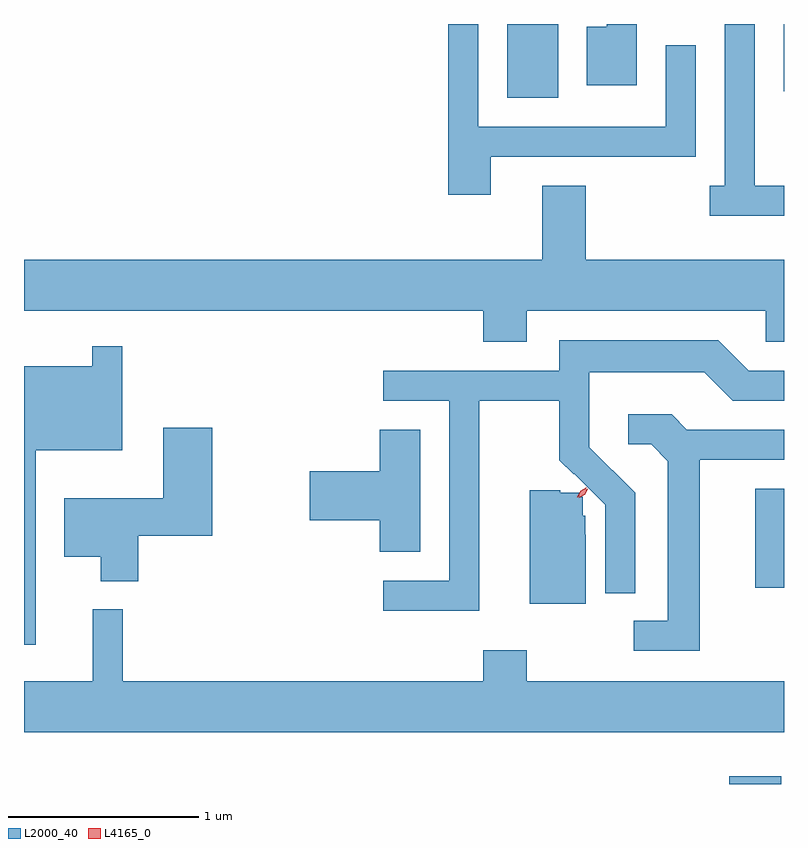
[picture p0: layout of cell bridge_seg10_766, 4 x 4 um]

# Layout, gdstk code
import gdstk
lib = gdstk.Library(unit=1e-6, precision=1e-09)
def R(c, l, rs):  # rectangles x0, y0, x1, y1
    for r in rs: c.add(gdstk.rectangle(r[:2], r[2:], *l))
def P(c, l, *ps):  # polygons
    for p in ps: c.add(gdstk.Polygon(p, *l))
L2000_40 = (2000, 40)
L4165_0 = (4165, 0)

bridge_seg10_766 = lib.new_cell('bridge_seg10_766')
R(bridge_seg10_766, L2000_40, [(606.746,2151.384,607.018,2151.424), (606.881,2152.416,607.033,2152.939), (605.576,2154.996,605.844,2155.384), (607.031,2155.031,607.033,2155.384)])
P(bridge_seg10_766, L2000_40, [(606.259,2155.384),(606.101,2155.384),(606.101,2155.369),(605.996,2155.369),(605.996,2155.061),(606.259,2155.061)],
  [(607.033,2154.534),(606.879,2154.534),(606.879,2155.384),(606.721,2155.384),(606.721,2154.534),(606.643,2154.534),(606.643,2154.376),(607.033,2154.376)],
  [(605.489,2154.686),(606.569,2154.686),(606.569,2155.273),(606.411,2155.273),(606.411,2154.844),(605.424,2154.844),(605.424,2155.384),(605.266,2155.384),(605.266,2154.486),(605.489,2154.486)],
  [(605.679,2153.876),(606.936,2153.876),(606.936,2153.711),(607.033,2153.711),(607.033,2154.144),(605.989,2154.144),(605.989,2154.534),(605.761,2154.534),(605.761,2154.144),(603.033,2154.144),(603.033,2153.876),(605.451,2153.876),(605.451,2153.711),(605.679,2153.711)],
  [(605.429,2153.401),(605.851,2153.401),(605.851,2153.089),(605.926,2153.014),(605.928,2153.016),(606.091,2152.853),(606.091,2152.388),(606.249,2152.388),(606.249,2152.917),(606.009,2153.157),(606.009,2153.551),(606.614,2153.551),(606.764,2153.401),(607.033,2153.401),(607.033,2153.559),(606.847,2153.559),(606.687,2153.719),(605.851,2153.719),(605.851,2153.559),(604.923,2153.559),(604.923,2153.401),(605.271,2153.401),(605.271,2152.454),(604.923,2152.454),(604.923,2152.296),(605.429,2152.296)],
  [(603.094,2153.141),(603.549,2153.141),(603.549,2153.688),(603.391,2153.688),(603.391,2153.584),(603.033,2153.584),(603.033,2152.118),(603.094,2152.118)],
  [(606.589,2153.091),(607.033,2153.091),(607.033,2153.249),(606.522,2153.249),(606.442,2153.329),(606.213,2153.329),(606.213,2153.171),(606.334,2153.171),(606.421,2153.084),(606.421,2152.244),(606.243,2152.244),(606.243,2152.086),(606.589,2152.086)],
  [(603.634,2152.691),(604.024,2152.691),(604.024,2153.259),(603.766,2153.259),(603.766,2152.889),(603.246,2152.889),(603.246,2152.581),(603.436,2152.581),(603.436,2152.451),(603.634,2152.451)],
  [(605.119,2153.249),(604.906,2153.249),(604.906,2153.029),(604.536,2153.029),(604.536,2152.771),(604.906,2152.771),(604.906,2152.606),(605.119,2152.606)],
  [(605.989,2152.697),(605.988,2152.697),(605.988,2152.797),(605.975,2152.797),(605.975,2152.897),(605.955,2152.897),(605.955,2152.918),(605.855,2152.918),(605.855,2152.931),(605.696,2152.931),(605.696,2152.333),(605.989,2152.333)],
  [(607.033,2151.924),(605.679,2151.924),(605.679,2152.089),(605.451,2152.089),(605.451,2151.924),(603.554,2151.924),(603.554,2152.303),(603.396,2152.303),(603.396,2151.924),(603.033,2151.924),(603.033,2151.656),(607.033,2151.656)])
P(bridge_seg10_766, L4165_0, [(605.946,2152.894),(605.946,2152.895),(605.964,2152.927),(605.995,2152.946),(605.996,2152.946),(605.996,2152.945),(605.978,2152.913),(605.947,2152.894)],
  [(605.954,2152.89),(605.954,2152.891),(605.971,2152.921),(606,2152.937),(606.001,2152.937),(606.001,2152.936),(605.985,2152.907),(605.955,2152.89)])

lib.write_gds('bridge_seg10_766.gds')
